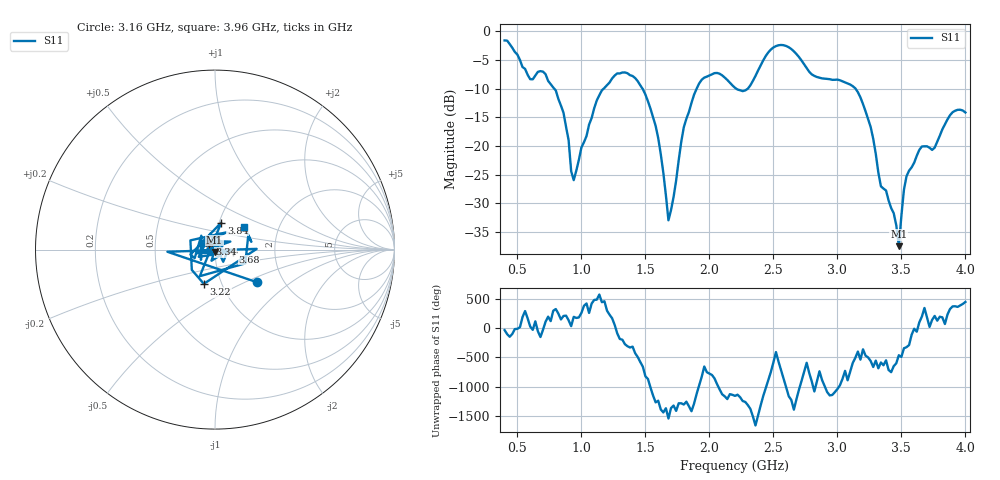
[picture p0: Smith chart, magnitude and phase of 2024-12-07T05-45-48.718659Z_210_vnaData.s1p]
!Created with skrf (http://scikit-rf.org).
# Hz S RI R 50.0
!freq ReS11 ImS11
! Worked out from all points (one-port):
!   181 points, 400 MHz to 4 GHz, reference 50 ohm
!   lowest |S11| = -37.5 dB at 3.48 GHz (marker M1), VSWR 1.03, Z = 49.7 - j1.3 ohm
!   |S11| at or under -10 dB: 788.3 MHz to 1.173 GHz (385 MHz wide, 39.3 % of centre); 1.478 GHz to 1.9 GHz (422.6 MHz wide, 25 % of centre); 3.142 GHz to end of sweep (the widest 3 of 4)
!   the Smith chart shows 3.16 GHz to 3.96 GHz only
!   S11 on the Smith chart (normalised r, x): 3.16 GHz: 1.47, -0.58; 3.22 GHz: 0.82, -0.33; 3.34 GHz: 0.94, +0.06; 3.68 GHz: 1.22, -0.03; 3.84 GHz: 1.02, +0.31; 3.96 GHz: 1.34, +0.35
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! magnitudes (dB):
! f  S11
! 400 MHz  -1.6
! 600 MHz  -8.3
! 720 MHz  -7.5
! 860 MHz  -14.2
! 940 MHz  -26.0
! 1.12 GHz  -12.1
! 1.3 GHz  -7.3
! 1.54 GHz  -13.5
! 1.6 GHz  -18.6
! 1.68 GHz  -33.0
! 1.76 GHz  -22.5
! 1.8 GHz  -16.7
! 1.94 GHz  -8.4
! 2.2 GHz  -9.8
! 2.5 GHz  -2.8
! 2.66 GHz  -3.5
! 3.1 GHz  -9.3
! 3.16 GHz  -10.6
! 3.22 GHz  -14.0
! 3.34 GHz  -27.0
! 3.44 GHz  -31.8
! 3.48 GHz  -37.5
! 3.52 GHz  -27.6
! 3.56 GHz  -24.3
! 3.68 GHz  -20.1
! 3.84 GHz  -16.2
! 3.96 GHz  -13.7
! 4 GHz  -14.2
